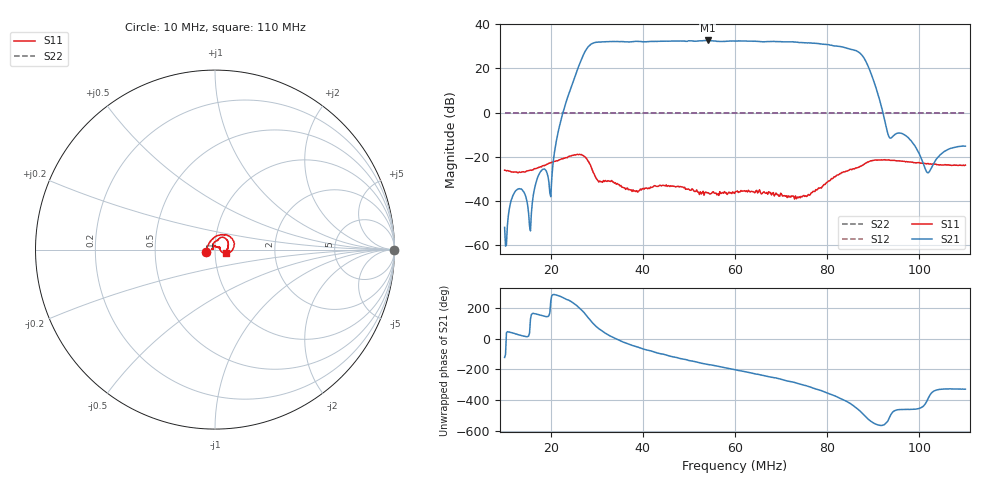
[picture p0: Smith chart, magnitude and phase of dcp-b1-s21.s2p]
! Anritsu VNA Master:  Model: MS2034B/10/19/501
! SN:  1337062
! /bd0/ovro-jan-2016/dcp-b1-s21.s2p
! Existing Calibration Information:
! TYPE:  Current Settings,  Active Cal Settings
! TIME:  01/09/2016 05:43:32 PM,  01/09/2016 12:40:35 PM
! INTERNAL TEMP:  41.8 C,  41.8 C
! # POINTS:  500,  500
! START FREQ:  10.000 MHz,  10.000 MHz
! STOP FREQ:  110.000 MHz,  110.000 MHz
! SOURCE POWER:  Low,  Low
! IFBW:  100 Hz,  100 Hz
! AVG FACTOR:  3 ,  3
! REF PLANE 1:  2.2245 m,  2.2245 m
! REF PLANE 2:  0 mm,  0 mm
! CAL TYPE:  1P2P S11,S21,  1P2P S11,S21
! CAL METHOD:  SOLT,  SOLT
! CAL LINE TYPE:  Coax,  Coax
! DUT PORT 1:  K-Conn(M),  K-Conn(M)
! DUT PORT 2:  N-Conn(M),  N-Conn(M)
! CAL STATUS:  OK: Accuracy High,  --
# GHZ S DB R 50.0
! FREQ.GHZ  S11DB  S11A  S21DB  S21A  S12DB  S12A  S22DB  S22A
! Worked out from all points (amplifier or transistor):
!   500 points, 10 MHz to 110 MHz, reference 50 ohm
!   highest |S21| = 32.6 dB at 54.09 MHz (marker M1)
!   |S21| within 3 dB of that: 28.09 MHz to 83.44 MHz (55.35 MHz wide, 99.2 % of centre)
!   unconditionally stable (mu >= 1): nowhere
!   at 26.63 MHz: K = 7.86, MSG = 11.9 dB, |S12| = 0.0 dB
!   at 60.1 MHz: K = 20.62, MSG = 16.2 dB, |S12| = 0.0 dB
!   at 110 MHz: K = 0.04, MSG = -7.6 dB, |S12| = 0.0 dB
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0.01  -26.03 -163.0  -51.87 -123.4  0.00 0.0  0.00 0.0
0.02362725  -20.38 55.5  6.64 -107.8  0.00 0.0  0.00 0.0
0.02683367  -19.22 13.7  24.86 -178.1  0.00 0.0  0.00 0.0
0.02823647  -22.24 -14.1  29.99 132.1  0.00 0.0  0.00 0.0
0.02963928  -28.75 -16.7  31.67 84.6  0.00 0.0  0.00 0.0
0.03164329  -31.16 19.4  32.05 39.4  0.00 0.0  0.00 0.0
0.03384769  -31.88 27.9  32.13 3.1  0.00 0.0  0.00 0.0
0.03845691  -35.65 71.7  32.23 -51.9  0.00 0.0  0.00 0.0
0.04346693  -33.13 103.2  32.23 -96.8  0.00 0.0  0.00 0.0
0.04847695  -33.58 113.4  32.36 -133.1  0.00 0.0  0.00 0.0
0.05408818  -36.16 143.2  32.61 -169.1  0.00 0.0  0.00 0.0
0.0601002  -35.70 171.4  32.31 155.9  0.00 0.0  0.00 0.0
0.06951904  -37.76 164.3  32.15 98.3  0.00 0.0  0.00 0.0
0.07292585  -39.11 159.4  31.88 73.9  0.00 0.0  0.00 0.0
0.07673347  -36.19 139.4  31.38 39.2  0.00 0.0  0.00 0.0
0.08074148  -30.41 110.2  30.52 -3.1  0.00 0.0  0.00 0.0
0.0853507  -25.83 76.3  28.49 -70.5  0.00 0.0  0.00 0.0
0.08655311  -24.92 73.6  27.71 -98.0  0.00 0.0  0.00 0.0
0.08795591  -23.41 68.0  24.82 -137.1  0.00 0.0  0.00 0.0
0.08975952  -21.68 55.2  16.33 175.0  0.00 0.0  0.00 0.0
0.09336673  -21.35 34.1  -10.71 -165.2  0.00 0.0  0.00 0.0
0.11  -23.71 -18.8  -15.15 29.8  0.00 0.0  0.00 0.0
